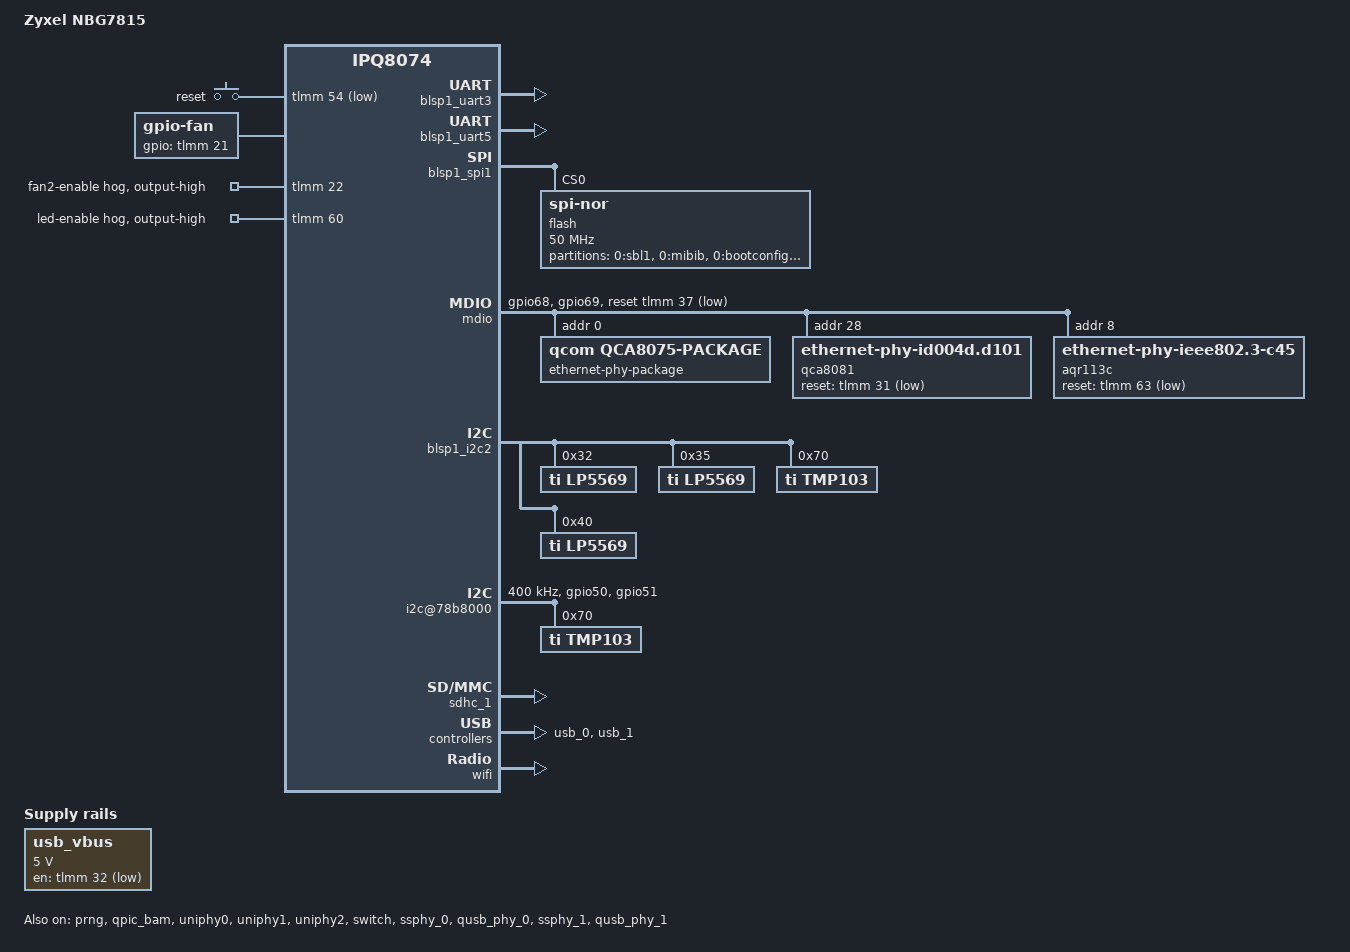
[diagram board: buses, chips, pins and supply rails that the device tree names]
// SPDX-License-Identifier: GPL-2.0-or-later OR MIT
/*
 * Copyright (c) 2022, Karol Przybylski <itor@o2.pl>
 * Copyright (c) 2023, Andre Valentin <avalentin@marcant.net>
 */

/dts-v1/;

#include "ipq8074.dtsi"
#include "ipq8074-hk-cpu.dtsi"
#include "ipq8074-ess.dtsi"
#include <dt-bindings/gpio/gpio.h>
#include <dt-bindings/leds/common.h>
#include <dt-bindings/input/input.h>

/ {
	model = "Zyxel NBG7815";
	compatible = "zyxel,nbg7815", "qcom,ipq8074";

	aliases {
		serial0 = &blsp1_uart5;
		serial1 = &blsp1_uart3;
		label-mac-device = &swport1;
	};

	chosen {
		stdout-path = "serial0:115200n8";
	};

	keys {
		compatible = "gpio-keys";

		reset {
			label = "reset";
			linux,code = <KEY_RESTART>;
			gpios = <&tlmm 54 GPIO_ACTIVE_LOW>;
		};
	};

	fan: fan {
		compatible = "gpio-fan";
		gpios = <&tlmm 21 GPIO_ACTIVE_HIGH>;
		/* nominal rpm of the stock fan */
		gpio-fan,speed-map = <0 0>,
				     <3000 1>;
		#cooling-cells = <2>;
	};

	usb_vbus: regulator-usb-vbus {
		compatible = "regulator-fixed";
		regulator-name = "usb_vbus";
		regulator-min-microvolt = <5000000>;
		regulator-max-microvolt = <5000000>;
		gpios = <&tlmm 32 GPIO_ACTIVE_HIGH>;
		regulator-boot-on;
	};
};

&tlmm {
	mdio_pins: mdio-pins {
		mdc {
			pins = "gpio68";
			function = "mdc";
			drive-strength = <8>;
			bias-pull-up;
		};

		mdio {
			pins = "gpio69";
			function = "mdio";
			drive-strength = <8>;
			bias-pull-up;
		};
	};

	i2c_1_pins: i2c1-pins {
		mux {
			pins = "gpio50", "gpio51";
			function = "blsp3_i2c";
			drive-strength = <8>;
			bias-disable;
		};
	};

	/*
	 * The stock firmware keeps these outputs high:
	 * gpio22: second fan enable
	 * gpio60: LED board enable
	 */
	fan2-en {
		gpio-hog;
		gpios = <22 GPIO_ACTIVE_HIGH>;
		output-high;
		line-name = "fan2-enable";
	};

	led-en {
		gpio-hog;
		gpios = <60 GPIO_ACTIVE_HIGH>;
		output-high;
		line-name = "led-enable";
	};
};

&blsp1_uart3 {
	/* CSR8811 bluetooth, 4-wire HSUART on the hsuart_pins */
	status = "okay";
};

&blsp1_uart5 {
	status = "okay";
};

&prng {
	status = "okay";
};

&qpic_bam {
	status = "okay";
};


&blsp1_spi1 {
	pinctrl-0 = <&spi_0_pins>;
	pinctrl-names = "default";
	status = "okay";

	flash@0 {
		reg = <0>;
		compatible = "jedec,spi-nor";
		spi-max-frequency = <50000000>;

		partitions {
			compatible = "fixed-partitions";
			#address-cells = <1>;
			#size-cells = <1>;

			partition@0 {
				label = "0:sbl1";
				reg = <0x0 0x50000>;
				read-only;
			};

			partition@50000 {
				label = "0:mibib";
				reg = <0x50000 0x10000>;
				read-only;
			};

			partition@60000 {
				label = "0:bootconfig";
				reg = <0x60000 0x20000>;
				read-only;
			};

			partition@80000 {
				label = "0:bootconfig1";
				reg = <0x80000 0x20000>;
				read-only;
			};

			partition@a0000 {
				label = "0:qsee";
				reg = <0xa0000 0x180000>;
				read-only;
			};

			partition@220000 {
				label = "0:qsee_1";
				reg = <0x220000 0x180000>;
				read-only;
			};

			partition@3a0000 {
				label = "0:devcfg";
				reg = <0x3a0000 0x10000>;
				read-only;
			};

			partition@3b0000 {
				label = "0:devcfg_1";
				reg = <0x3b0000 0x10000>;
				read-only;
			};

			partition@3c0000 {
				label = "0:apdp";
				reg = <0x3c0000 0x10000>;
				read-only;
			};

			partition@3d0000 {
				label = "0:apdp_1";
				reg = <0x3d0000 0x10000>;
				read-only;
			};

			partition@3e0000 {
				label = "0:rpm";
				reg = <0x3e0000 0x40000>;
				read-only;
			};

			partition@420000 {
				label = "0:rpm_1";
				reg = <0x420000 0x40000>;
				read-only;
			};

			partition@460000 {
				label = "0:cdt";
				reg = <0x460000 0x10000>;
				read-only;
			};

			partition@470000 {
				label = "0:cdt_1";
				reg = <0x470000 0x10000>;
				read-only;
			};

			partition@480000 {
				label = "0:appsbl";
				reg = <0x480000 0xc0000>;
				read-only;
			};

			partition@540000 {
				label = "0:appsbl_1";
				reg = <0x540000 0xc0000>;
				read-only;
			};

			partition@600000 {
				label = "0:appsblenv";
				reg = <0x600000 0x10000>;

				nvmem-layout {
					compatible = "u-boot,env";

					macaddr_lan: ethaddr {
						#nvmem-cell-cells = <1>;
					};
				};
			};

			partition@610000 {
				label = "0:art";
				reg = <0x610000 0x40000>;
				read-only;
			};

			partition@650000 {
				label = "0:ethphyfw";
				reg = <0x650000 0x80000>;
				read-only;

				nvmem-layout {
					compatible = "fixed-layout";
					#address-cells = <1>;
					#size-cells = <1>;

					aqr_fw: firmware@28 {
						/* Skip the QCOM MBN Header of 40 bytes */
						reg = <0x28 0x5f402>;
					};
				};
			};

			partition@6d0000 {
				label = "0:crt";
				reg = <0x6d0000 0x10000>;
				read-only;
			};

			partition@6e0000 {
				label = "dual_flag";
				reg = <0x6e0000 0x10000>;
			};

			partition@6f0000 {
				label = "reserved";
				reg = <0x6f0000 0x110000>;
				read-only;
			};
		};
	};
};

&mdio {
	status = "okay";
	pinctrl-0 = <&mdio_pins>;
	pinctrl-names = "default";
	reset-gpios = <&tlmm 37 GPIO_ACTIVE_LOW>;

	ethernet-phy-package@0 {
		#address-cells = <1>;
		#size-cells = <0>;
		compatible = "qcom,qca8075-package";
		reg = <0>;

		qca8075_0: ethernet-phy@0 {
			compatible = "ethernet-phy-ieee802.3-c22";
			reg = <0>;
		};

		qca8075_1: ethernet-phy@1 {
			compatible = "ethernet-phy-ieee802.3-c22";
			reg = <1>;
		};

		qca8075_2: ethernet-phy@2 {
			compatible = "ethernet-phy-ieee802.3-c22";
			reg = <2>;
		};

		qca8075_3: ethernet-phy@3 {
			compatible = "ethernet-phy-ieee802.3-c22";
			reg = <3>;
		};
	};

	qca8081: ethernet-phy@28 {
		compatible = "ethernet-phy-id004d.d101";
		reg = <28>;
		reset-deassert-us = <10000>;
		reset-gpios = <&tlmm 31 GPIO_ACTIVE_LOW>;
	};

	aqr113c: ethernet-phy@5 {
		compatible = "ethernet-phy-ieee802.3-c45";
		reg = <8>;
		reset-gpios = <&tlmm 63 GPIO_ACTIVE_LOW>;

		nvmem-cells = <&aqr_fw>;
		nvmem-cell-names = "firmware";
	};
};

&uniphy0 {
	status = "okay";
};

&uniphy1 {
	status = "okay";
};

&uniphy2 {
	status = "okay";
};

&switch {
	status = "okay";

	ports {
		#address-cells = <1>;
		#size-cells = <0>;

		port@0 {
			reg = <0>;
			ethernet = <&edma>;
			phy-mode = "internal";

			fixed-link {
				speed = <1000>;
				full-duplex;
			};
		};

		swport1: port@1 {
			reg = <1>;
			label = "lan1";
			phy-handle = <&qca8075_0>;
			phy-mode = "psgmii";
			pcs-handle = <&uniphy0 0>;
			nvmem-cells = <&macaddr_lan 0>;
			nvmem-cell-names = "mac-address";
		};

		swport2: port@2 {
			reg = <2>;
			label = "lan2";
			phy-handle = <&qca8075_1>;
			phy-mode = "psgmii";
			pcs-handle = <&uniphy0 1>;
			nvmem-cells = <&macaddr_lan 0>;
			nvmem-cell-names = "mac-address";
		};

		swport3: port@3 {
			reg = <3>;
			label = "lan3";
			phy-handle = <&qca8075_2>;
			phy-mode = "psgmii";
			pcs-handle = <&uniphy0 2>;
			nvmem-cells = <&macaddr_lan 0>;
			nvmem-cell-names = "mac-address";
		};

		swport4: port@4 {
			reg = <4>;
			label = "lan4";
			phy-handle = <&qca8075_3>;
			phy-mode = "psgmii";
			pcs-handle = <&uniphy0 3>;
			nvmem-cells = <&macaddr_lan 0>;
			nvmem-cell-names = "mac-address";
		};

		swport5: port@5 {
			reg = <5>;
			label = "wan";
			phy-handle = <&qca8081>;
			phy-mode = "2500base-x";
			pcs-handle = <&uniphy1 0>;
			nvmem-cells = <&macaddr_lan 1>;
			nvmem-cell-names = "mac-address";
		};

		swport6: port@6 {
			reg = <6>;
			label = "10g";
			phy-handle = <&aqr113c>;
			phy-mode = "usxgmii";
			managed = "in-band-status";
			pcs-handle = <&uniphy2 0>;
			nvmem-cells = <&macaddr_lan 0>;
			nvmem-cell-names = "mac-address";
		};
	};
};

&edma {
	status = "okay";
};

&blsp1_i2c2 {
	pinctrl-0 = <&i2c_0_pins>;
	pinctrl-names = "default";
	status = "okay";

	/* front panel RGB LEDs, 6 pcs. */
	lp5569@32 {
		compatible = "ti,lp5569";
		reg = <0x32>;
		clock-mode = /bits/8 <1>; /* internal */
		#address-cells = <1>;
		#size-cells = <0>;

		multi-led@0 {
			#address-cells = <1>;
			#size-cells = <0>;
			reg = <0>;
			color = <LED_COLOR_ID_RGB>;

			led@0 {
				reg = <0>;
				chan-name = "nbg7815:led1";
				color = <LED_COLOR_ID_RED>;
				led-cur = /bits/8 <0xdf>;
				max-cur = /bits/8 <0xff>;
			};

			led@1 {
				reg = <1>;
				chan-name = "nbg7815:led1";
				color = <LED_COLOR_ID_GREEN>;
				led-cur = /bits/8 <0xdf>;
				max-cur = /bits/8 <0xff>;
			};

			led@2 {
				reg = <2>;
				chan-name = "nbg7815:led1";
				color = <LED_COLOR_ID_BLUE>;
				led-cur = /bits/8 <0xdf>;
				max-cur = /bits/8 <0xff>;
			};
		};

		multi-led@1 {
			#address-cells = <1>;
			#size-cells = <0>;
			reg = <1>;
			color = <LED_COLOR_ID_RGB>;

			led@3 {
				reg = <3>;
				chan-name = "nbg7815:led2";
				color = <LED_COLOR_ID_RED>;
				led-cur = /bits/8 <0xdf>;
				max-cur = /bits/8 <0xff>;
			};

			led@4 {
				reg = <4>;
				chan-name = "nbg7815:led2";
				color = <LED_COLOR_ID_GREEN>;
				led-cur = /bits/8 <0xdf>;
				max-cur = /bits/8 <0xff>;
			};

			led@5 {
				reg = <5>;
				chan-name = "nbg7815:led2";
				color = <LED_COLOR_ID_BLUE>;
				led-cur = /bits/8 <0xdf>;
				max-cur = /bits/8 <0xff>;
			};
		};

		multi-led@2 {
			#address-cells = <1>;
			#size-cells = <0>;
			reg = <2>;
			color = <LED_COLOR_ID_RGB>;

			led@6 {
				reg = <6>;
				chan-name = "nbg7815:led3";
				color = <LED_COLOR_ID_RED>;
				led-cur = /bits/8 <0xdf>;
				max-cur = /bits/8 <0xff>;
			};

			led@7 {
				reg = <7>;
				chan-name = "nbg7815:led3";
				color = <LED_COLOR_ID_GREEN>;
				led-cur = /bits/8 <0xdf>;
				max-cur = /bits/8 <0xff>;
			};

			led@8 {
				reg = <8>;
				chan-name = "nbg7815:led3";
				color = <LED_COLOR_ID_BLUE>;
				led-cur = /bits/8 <0xdf>;
				max-cur = /bits/8 <0xff>;
			};
		};
	};

	lp5569@35 {
		compatible = "ti,lp5569";
		reg = <0x35>;
		clock-mode = /bits/8 <2>; /* external */
		#address-cells = <1>;
		#size-cells = <0>;

		multi-led@0 {
			#address-cells = <1>;
			#size-cells = <0>;
			reg = <0>;
			color = <LED_COLOR_ID_RGB>;

			led@6 {
				reg = <6>;
				chan-name = "nbg7815:led4";
				color = <LED_COLOR_ID_RED>;
				led-cur = /bits/8 <0xdf>;
				max-cur = /bits/8 <0xff>;
			};

			led@7 {
				reg = <7>;
				chan-name = "nbg7815:led4";
				color = <LED_COLOR_ID_GREEN>;
				led-cur = /bits/8 <0xdf>;
				max-cur = /bits/8 <0xff>;
			};

			led@8 {
				reg = <8>;
				chan-name = "nbg7815:led4";
				color = <LED_COLOR_ID_BLUE>;
				led-cur = /bits/8 <0xdf>;
				max-cur = /bits/8 <0xff>;
			};
		};

		multi-led@1 {
			#address-cells = <1>;
			#size-cells = <0>;
			reg = <1>;
			color = <LED_COLOR_ID_RGB>;

			led@3 {
				reg = <3>;
				chan-name = "nbg7815:led5";
				color = <LED_COLOR_ID_RED>;
				led-cur = /bits/8 <0xdf>;
				max-cur = /bits/8 <0xff>;
			};

			led@4 {
				reg = <4>;
				chan-name = "nbg7815:led5";
				color = <LED_COLOR_ID_GREEN>;
				led-cur = /bits/8 <0xdf>;
				max-cur = /bits/8 <0xff>;
			};

			led@5 {
				reg = <5>;
				chan-name = "nbg7815:led5";
				color = <LED_COLOR_ID_BLUE>;
				led-cur = /bits/8 <0xdf>;
				max-cur = /bits/8 <0xff>;
			};
		};

		multi-led@2 {
			#address-cells = <1>;
			#size-cells = <0>;
			reg = <2>;
			color = <LED_COLOR_ID_RGB>;

			led@0 {
				reg = <0>;
				chan-name = "nbg7815:led6";
				color = <LED_COLOR_ID_RED>;
				led-cur = /bits/8 <0xdf>;
				max-cur = /bits/8 <0xff>;
			};

			led@1 {
				reg = <1>;
				chan-name = "nbg7815:led6";
				color = <LED_COLOR_ID_GREEN>;
				led-cur = /bits/8 <0xdf>;
				max-cur = /bits/8 <0xff>;
			};

			led@2 {
				reg = <2>;
				chan-name = "nbg7815:led6";
				color = <LED_COLOR_ID_BLUE>;
				led-cur = /bits/8 <0xdf>;
				max-cur = /bits/8 <0xff>;
			};
		};
	};

	tmp103@70 {
		compatible = "ti,tmp103";
		reg = <0x70>;
	};
	/* third front panel RGB LED group (LED7-LED9); the chip answers to the
	 * lp5569 register layout - a write to the pwm registers at 0x16 lights
	 * the LEDs, while the lp50xx driver only got -EIO
	 */
	lp5569@40 {
		compatible = "ti,lp5569";
		reg = <0x40>;
		clock-mode = /bits/8 <1>; /* internal */
		#address-cells = <1>;
		#size-cells = <0>;

		multi-led@0 {
			#address-cells = <1>;
			#size-cells = <0>;
			reg = <0>;
			color = <LED_COLOR_ID_RGB>;

			led@0 {
				reg = <0>;
				chan-name = "nbg7815:led7";
				color = <LED_COLOR_ID_RED>;
				led-cur = /bits/8 <0xdf>;
				max-cur = /bits/8 <0xff>;
			};

			led@1 {
				reg = <1>;
				chan-name = "nbg7815:led7";
				color = <LED_COLOR_ID_GREEN>;
				led-cur = /bits/8 <0xdf>;
				max-cur = /bits/8 <0xff>;
			};

			led@2 {
				reg = <2>;
				chan-name = "nbg7815:led7";
				color = <LED_COLOR_ID_BLUE>;
				led-cur = /bits/8 <0xdf>;
				max-cur = /bits/8 <0xff>;
			};
		};

		multi-led@1 {
			#address-cells = <1>;
			#size-cells = <0>;
			reg = <1>;
			color = <LED_COLOR_ID_RGB>;

			led@3 {
				reg = <3>;
				chan-name = "nbg7815:led8";
				color = <LED_COLOR_ID_RED>;
				led-cur = /bits/8 <0xdf>;
				max-cur = /bits/8 <0xff>;
			};

			led@4 {
				reg = <4>;
				chan-name = "nbg7815:led8";
				color = <LED_COLOR_ID_GREEN>;
				led-cur = /bits/8 <0xdf>;
				max-cur = /bits/8 <0xff>;
			};

			led@5 {
				reg = <5>;
				chan-name = "nbg7815:led8";
				color = <LED_COLOR_ID_BLUE>;
				led-cur = /bits/8 <0xdf>;
				max-cur = /bits/8 <0xff>;
			};
		};

		multi-led@2 {
			#address-cells = <1>;
			#size-cells = <0>;
			reg = <2>;
			color = <LED_COLOR_ID_RGB>;

			led@6 {
				reg = <6>;
				chan-name = "nbg7815:led9";
				color = <LED_COLOR_ID_RED>;
				led-cur = /bits/8 <0xdf>;
				max-cur = /bits/8 <0xff>;
			};

			led@7 {
				reg = <7>;
				chan-name = "nbg7815:led9";
				color = <LED_COLOR_ID_GREEN>;
				led-cur = /bits/8 <0xdf>;
				max-cur = /bits/8 <0xff>;
			};

			led@8 {
				reg = <8>;
				chan-name = "nbg7815:led9";
				color = <LED_COLOR_ID_BLUE>;
				led-cur = /bits/8 <0xdf>;
				max-cur = /bits/8 <0xff>;
			};
		};
	};
};


/* use the second I2C bus for the second temperature sensor */
/delete-node/ &blsp1_spi4;

&soc {
	i2c@78b8000 {
		compatible = "qcom,i2c-qup-v2.2.1";
		#address-cells = <1>;
		#size-cells = <0>;
		reg = <0x078b8000 0x600>;
		interrupts = <GIC_SPI 98 IRQ_TYPE_LEVEL_HIGH>;
		clocks = <&gcc GCC_BLSP1_QUP4_I2C_APPS_CLK>,
			 <&gcc GCC_BLSP1_AHB_CLK>;
		clock-names = "core", "iface";
		clock-frequency = <400000>;
		dmas = <&blsp_dma 18>, <&blsp_dma 19>;
		dma-names = "tx", "rx";
		pinctrl-0 = <&i2c_1_pins>;
		pinctrl-names = "default";
		status = "okay";

		tmp103@70 {
			compatible = "ti,tmp103";
			reg = <0x70>;
		};
	};
};

&sdhc_1 {
	status = "okay";
	/* unstable, problem with the hs400 > h200 speed switch */
	/delete-property/ mmc-hs400-1_8v;
	mmc-hs200-1_8v;
	mmc-ddr-1_8v;
	vqmmc-supply = <&l11>;
};

&ssphy_0 {
	status = "okay";
};

&qusb_phy_0 {
	status = "okay";
};

&ssphy_1 {
	status = "okay";
};

&qusb_phy_1 {
	vdd-supply = <&usb_vbus>;
	status = "okay";
};

&usb_0 {
	status = "okay";
};

&usb_1 {
	status = "okay";
};

&wifi {
	status = "okay";

	qcom,ath11k-calibration-variant = "Zyxel-NBG7815";
};

&cluster_thermal {
	trips {
		cluster_fan: cluster-fan {
			/*
			 * The stock firmware only switches the fan at 108/85
			 * degC, which the SoC hardly ever reaches, so the case
			 * gets uncomfortably hot under load first. Start it at
			 * 85 degC instead, as discussed for this device in
			 * https://github.com/openwrt/openwrt/pull/14210
			 */
			temperature = <85000>;
			hysteresis = <5000>;
			type = "active";
		};
	};

	cooling-maps {
		map2 {
			trip = <&cluster_fan>;
			cooling-device = <&fan THERMAL_NO_LIMIT THERMAL_NO_LIMIT>;
		};
	};
};
